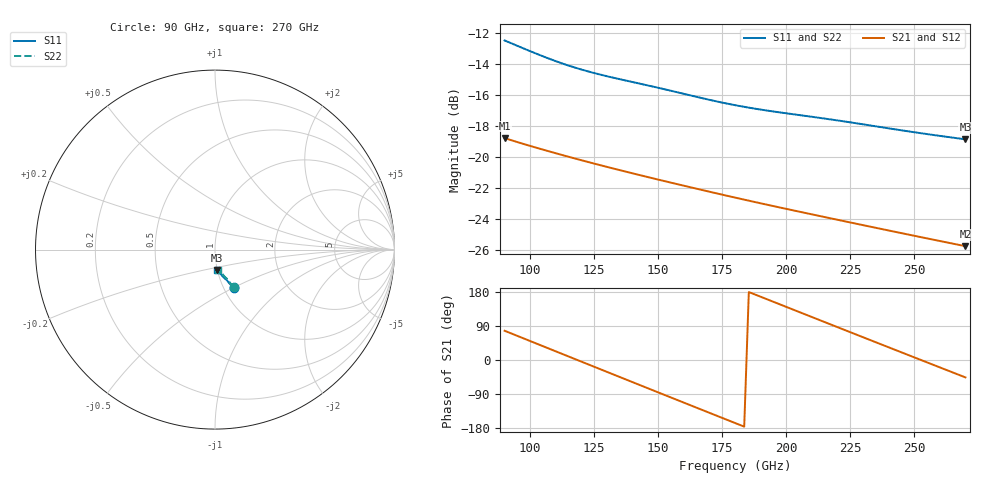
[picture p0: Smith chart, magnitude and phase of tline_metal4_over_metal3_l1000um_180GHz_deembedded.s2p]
! Created with skrf 2.2.0 (http://scikit-rf.org).
# GHz S DB R 50.0
! Port[1] = P1
! Port[2] = P2
!freq dBS11 angS11 dBS21 angS21 dBS12 angS12 dBS22 angS22
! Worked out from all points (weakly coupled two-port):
!   101 points, 90 GHz to 270 GHz, reference 50 ohm
!   highest |S21| = -18.79 dB at 90 GHz (marker M1); lowest = -25.8 dB at 270 GHz (marker M2)
!   lowest |S11| = -18.9 dB at 270 GHz (marker M3), VSWR 1.26, Z = 49.7 - j11.4 ohm
!   |S11| at or under -10 dB: start of sweep to end of sweep
!   |S22| runs from -18.7 to -12.6 dB; largest |S21 - S12| = 1.9e-14
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90  -12.48 -63.3  -18.79 77.2  -18.79 77.2  -12.65 -62.7
99  -13.11 -65.3  -19.25 52.7  -19.25 52.7  -13.28 -64.6
106.2  -13.59 -66.5  -19.60 33.1  -19.60 33.1  -13.77 -65.6
113.4  -14.02 -67.4  -19.93 13.6  -19.93 13.6  -14.20 -66.3
120.6  -14.39 -68.1  -20.25 -5.9  -20.25 -5.9  -14.58 -66.8
127.8  -14.71 -68.8  -20.56 -25.4  -20.56 -25.4  -14.89 -67.3
136.8  -15.05 -69.9  -20.94 -49.8  -20.94 -49.8  -15.24 -68.2
144  -15.32 -70.9  -21.23 -69.3  -21.23 -69.3  -15.50 -69.0
151.2  -15.59 -72.0  -21.52 -88.7  -21.52 -88.7  -15.77 -69.9
158.4  -15.87 -73.0  -21.81 -108.1  -21.81 -108.1  -16.05 -70.8
167.4  -16.22 -74.1  -22.16 -132.4  -22.16 -132.4  -16.39 -71.6
180  -16.66 -75.2  -22.64 -166.2  -22.64 -166.2  -16.80 -72.4
187.2  -16.88 -75.8  -22.90 174.5  -22.90 174.5  -17.00 -72.8
194.4  -17.06 -76.4  -23.16 155.2  -23.16 155.2  -17.16 -73.3
203.4  -17.27 -77.4  -23.49 131.1  -23.49 131.1  -17.35 -74.1
210.6  -17.43 -78.2  -23.74 111.9  -23.74 111.9  -17.50 -74.8
217.8  -17.60 -79.2  -23.99 92.7  -23.99 92.7  -17.65 -75.6
225  -17.77 -80.1  -24.24 73.5  -24.24 73.5  -17.80 -76.3
234  -18.01 -81.2  -24.55 49.5  -24.55 49.5  -18.00 -77.3
241.2  -18.19 -82.0  -24.80 30.4  -24.80 30.4  -18.16 -77.9
255.6  -18.55 -83.4  -25.29 -7.8  -25.29 -7.8  -18.45 -79.2
270  -18.87 -84.8  -25.78 -45.9  -25.78 -45.9  -18.71 -80.6
